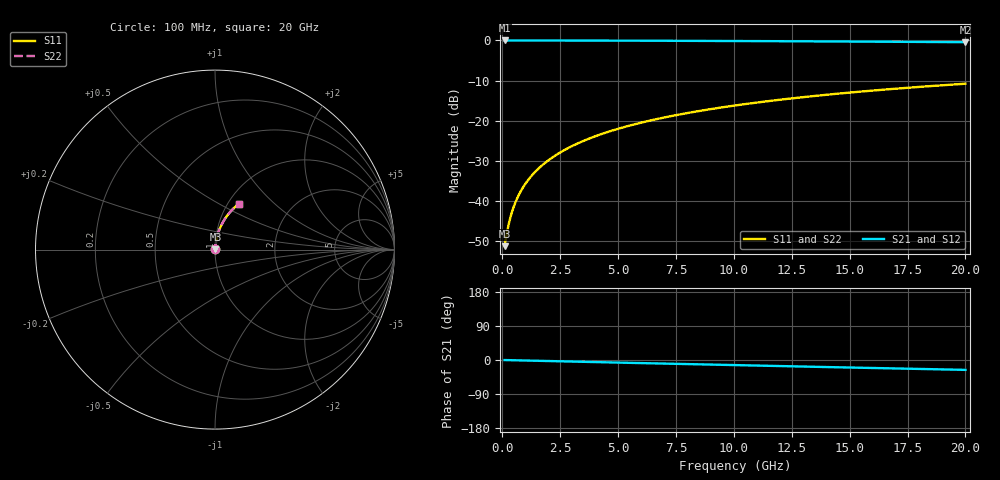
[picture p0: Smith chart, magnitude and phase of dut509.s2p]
! Touchstone file exported from HFSS 2026.1.0
!  File:  C:/ffzhzh/LocalFiles/Ansys_Project_Files/temp_train_BSMRDL_509_1783014346_46388.aedt
!  Generated:  01:47:14 AM Jul  3, 2026
!  Design:  BSMRDL
!  Project:  temp_train_BSMRDL_509_1783014346_46388
! Variables:
!  h_bsmrdl = 4.14um
!  h_ox = 20um
!  h_rdl = 5um
!  h_sub = 80um
!  h_tmrdl = 5um
!  h_tsv = 80um
!  h_via = 3um
!  l_bsmrdl = 331.72um
!  l_sub = 731.72um
!  l_tmrdl = 200um
!  m_sub = 200um
!  pitch = 42.64um
!  r_tsv = 6um
!  s_tmrdl = 10um
!  w_bsmrdl = 14.04um
!  w_sub = 500um
!  w_tmrdl = 12um
!  x_tsv_center1 = 206um
!  x_tsv_center2 = 551.76um
!  x_tsv_center3 = 763.76um
!  x_tsv_center4 = 1109.52um
!  x_tsv_center5 = 1321.52um
!  x_tsv_center6 = 1667.28um
# GHz S MA R 50.000000
! Terminal data exported
! Port[1] = BSM_RDL1_1_T1
! Port[2] = BSM_RDL1_1_T2
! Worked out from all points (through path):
!   200 points, 100 MHz to 20 GHz, reference 50 ohm
!   highest |S21| = -0.02 dB at 100 MHz (marker M1); lowest = -0.5 dB at 20 GHz (marker M2)
!   group delay of S21, straight-line fit = 3.62 ps
!   lowest |S11| = -51.3 dB at 100 MHz (marker M3), VSWR 1.01, Z = 50.2 + j0.169 ohm
!   |S11| at or under -10 dB: start of sweep to end of sweep
!   |S22| runs from -51.3 to -10.8 dB; largest |S21 - S12| = 2.4e-15
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0.1  0.002727 38.1  0.9979 -0.1  0.9979 -0.1  0.002727 38.1
! Gamma 0 0 0 0
! Port Impedance 50 0 50 0
0.2  0.004008 56.6  0.9978 -0.3  0.9978 -0.3  0.004008 56.6
0.3  0.005481 65.4  0.9977 -0.4  0.9977 -0.4  0.005481 65.4
0.4  0.007008 70.2  0.9977 -0.6  0.9977 -0.6  0.007008 70.2
0.5  0.008554 73.3  0.9976 -0.7  0.9976 -0.7  0.008554 73.3
0.6  0.01011 75.4  0.9976 -0.8  0.9976 -0.8  0.01011 75.4
0.8  0.01324 78.1  0.9975 -1.1  0.9975 -1.1  0.01324 78.1
1.1  0.01796 80.3  0.9973 -1.5  0.9973 -1.5  0.01796 80.3
1.5  0.02428 81.7  0.9971 -2.1  0.9971 -2.1  0.02428 81.7
1.8  0.02903 82.1  0.9969 -2.5  0.9969 -2.5  0.02903 82.1
2.1  0.03378 82.3  0.9966 -2.9  0.9966 -2.9  0.03378 82.3
2.7  0.04326 82.3  0.9961 -3.7  0.9961 -3.7  0.04326 82.3
3.5  0.05583 81.8  0.9952 -4.8  0.9952 -4.8  0.05583 81.8
4.2  0.06675 81.2  0.9942 -5.8  0.9942 -5.8  0.06675 81.2
5  0.07912 80.3  0.993 -6.8  0.993 -6.8  0.07912 80.3
5.9  0.09289 79.3  0.9914 -8.0  0.9914 -8.0  0.09289 79.3
6.8  0.1065 78.2  0.9896 -9.2  0.9896 -9.2  0.1065 78.2
8.3  0.1289 76.4  0.9864 -11.2  0.9864 -11.2  0.1289 76.4
10.1  0.1552 74.2  0.9819 -13.6  0.9819 -13.6  0.1552 74.2
13.4  0.2018 70.2  0.9725 -17.8  0.9725 -17.8  0.2018 70.2
16.7  0.2463 66.2  0.9615 -22.0  0.9615 -22.0  0.2463 66.2
20  0.2884 62.3  0.9493 -26.0  0.9493 -26.0  0.2884 62.3
